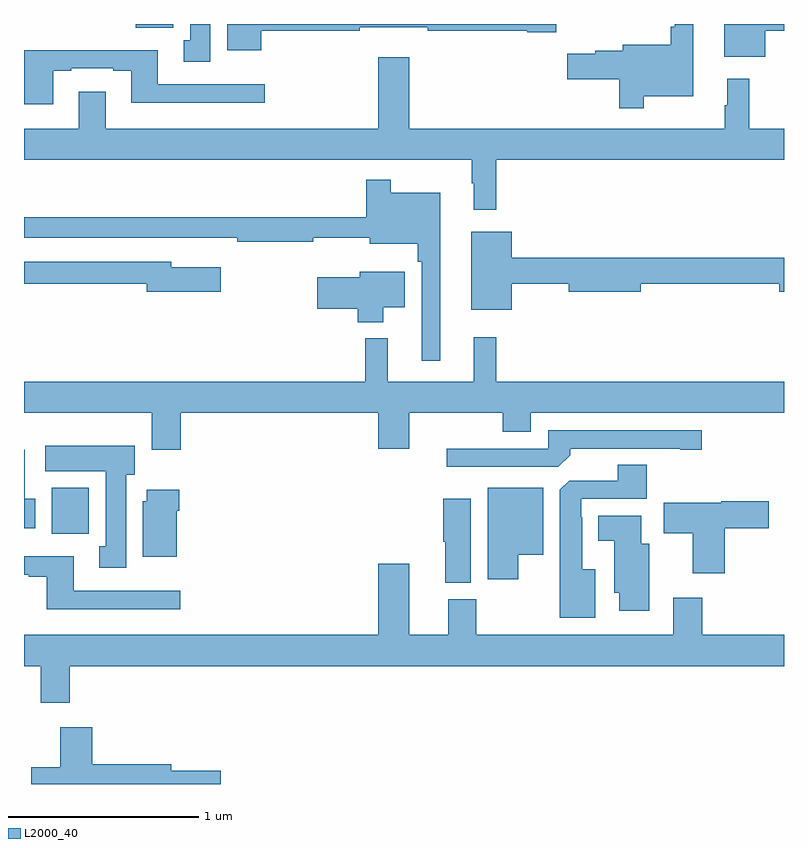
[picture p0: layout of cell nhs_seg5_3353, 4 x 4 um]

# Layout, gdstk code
import gdstk
lib = gdstk.Library(unit=1e-6, precision=1e-09)
def R(c, l, rs):  # rectangles x0, y0, x1, y1
    for r in rs: c.add(gdstk.rectangle(r[:2], r[2:], *l))
def P(c, l, *ps):  # polygons
    for p in ps: c.add(gdstk.Polygon(p, *l))
L2000_40 = (2000, 40)

nhs_seg5_3353 = lib.new_cell('nhs_seg5_3353')
R(nhs_seg5_3353, L2000_40, [(307.145,864.116,307.342,864.358), (307.589,866.78,307.786,866.799), (307.337,866.798,307.501,866.799)])
P(nhs_seg5_3353, L2000_40, [(310.261,866.42),(310.522,866.42),(310.522,866.799),(310.425,866.799),(310.425,866.785),(310.405,866.785),(310.405,866.689),(310.151,866.689),(310.151,866.659),(310.007,866.659),(310.007,866.642),(309.858,866.642),(309.858,866.507),(310.132,866.507),(310.132,866.355),(310.261,866.355)],
  [(307.981,866.799),(307.874,866.799),(307.874,866.714),(307.841,866.714),(307.841,866.601),(307.981,866.601)],
  [(310.9,866.764),(311,866.764),(311,866.799),(310.685,866.799),(310.685,866.627),(310.9,866.627)],
  [(308.248,866.764),(308.768,866.764),(308.768,866.783),(309.124,866.783),(309.124,866.764),(309.648,866.764),(309.648,866.756),(309.802,866.756),(309.802,866.799),(308.069,866.799),(308.069,866.66),(308.248,866.66)],
  [(307.153,866.553),(307.249,866.553),(307.249,866.565),(307.469,866.565),(307.469,866.553),(307.565,866.553),(307.565,866.384),(308.266,866.384),(308.266,866.481),(307.705,866.481),(307.705,866.662),(307.001,866.662),(307.001,866.376),(307.153,866.376)],
  [(309.485,866.084),(311,866.084),(311,866.248),(310.817,866.248),(310.817,866.512),(310.7,866.512),(310.7,866.372),(310.689,866.372),(310.689,866.248),(309.028,866.248),(309.028,866.623),(308.864,866.623),(308.864,866.248),(307.429,866.248),(307.429,866.443),(307.289,866.443),(307.289,866.248),(307,866.248),(307,866.084),(309.357,866.084),(309.357,865.961),(309.368,865.961),(309.368,865.821),(309.485,865.821)],
  [(309.19,865.912),(308.929,865.912),(308.929,865.978),(308.8,865.978),(308.8,865.783),(307,865.783),(307,865.674),(307.87,865.674),(307.87,865.673),(308.122,865.673),(308.122,865.654),(308.523,865.654),(308.523,865.673),(308.819,865.673),(308.819,865.643),(309.073,865.643),(309.073,865.547),(309.093,865.547),(309.093,865.026),(309.19,865.026)],
  [(309.568,865.432),(309.866,865.432),(309.866,865.39),(310.246,865.39),(310.246,865.432),(310.976,865.432),(310.976,865.39),(311,865.39),(311,865.568),(309.568,865.568),(309.568,865.705),(309.353,865.705),(309.353,865.295),(309.568,865.295)],
  [(308.035,865.519),(307.774,865.519),(307.774,865.548),(307,865.548),(307,865.432),(307.646,865.432),(307.646,865.39),(308.035,865.39)],
  [(308.89,865.307),(309.004,865.307),(309.004,865.495),(308.768,865.495),(308.768,865.465),(308.544,865.465),(308.544,865.3),(308.756,865.3),(308.756,865.229),(308.89,865.229)],
  [(309.028,864.752),(309.52,864.752),(309.52,864.653),(309.667,864.653),(309.667,864.752),(311,864.752),(311,864.916),(309.485,864.916),(309.485,865.15),(309.368,865.15),(309.368,864.916),(308.915,864.916),(308.915,865.144),(308.797,865.144),(308.797,864.916),(307,864.916),(307,864.752),(307.673,864.752),(307.673,864.558),(307.826,864.558),(307.826,864.752),(308.864,864.752),(308.864,864.564),(309.028,864.564)],
  [(309.875,864.53),(309.875,864.564),(310.454,864.564),(310.454,864.559),(310.567,864.559),(310.567,864.66),(309.759,864.66),(309.759,864.564),(309.225,864.564),(309.225,864.468),(309.813,864.468)],
  [(307.537,864.426),(307.582,864.426),(307.582,864.58),(307.113,864.58),(307.113,864.446),(307.43,864.446),(307.43,864.05),(307.397,864.05),(307.397,863.937),(307.537,863.937)],
  [(307.06,864.3),(307.003,864.3),(307.003,864.559),(307,864.559),(307,864.144),(307.06,864.144)],
  [(310.006,863.929),(309.937,863.929),(309.937,864.203),(309.933,864.203),(309.933,864.3),(310.277,864.3),(310.277,864.479),(310.124,864.479),(310.124,864.396),(309.87,864.396),(309.821,864.347),(309.821,863.675),(310.006,863.675)],
  [(309.601,864.005),(309.733,864.005),(309.733,864.358),(309.44,864.358),(309.44,863.877),(309.601,863.877)],
  [(307.804,864.236),(307.817,864.236),(307.817,864.349),(307.646,864.349),(307.646,864.288),(307.625,864.288),(307.625,863.996),(307.804,863.996)],
  [(309.352,864.301),(309.206,864.301),(309.206,864.075),(309.218,864.075),(309.218,863.857),(309.352,863.857)],
  [(310.688,864.146),(310.921,864.146),(310.921,864.288),(310.671,864.288),(310.671,864.28),(310.368,864.28),(310.368,864.118),(310.52,864.118),(310.52,863.907),(310.688,863.907)],
  [(310.291,864.064),(310.249,864.064),(310.249,864.211),(310.022,864.211),(310.022,864.08),(310.106,864.08),(310.106,863.805),(310.133,863.805),(310.133,863.712),(310.291,863.712)],
  [(307.822,863.817),(307.261,863.817),(307.261,863.998),(307,863.998),(307,863.901),(307.025,863.901),(307.025,863.889),(307.121,863.889),(307.121,863.72),(307.822,863.72)],
  [(307.241,863.42),(311,863.42),(311,863.584),(310.571,863.584),(310.571,863.779),(310.418,863.779),(310.418,863.584),(309.381,863.584),(309.381,863.772),(309.233,863.772),(309.233,863.584),(309.028,863.584),(309.028,863.959),(308.864,863.959),(308.864,863.584),(307,863.584),(307,863.42),(307.088,863.42),(307.088,863.226),(307.241,863.226)],
  [(308.035,862.868),(307.774,862.868),(307.774,862.904),(307.358,862.904),(307.358,863.098),(307.19,863.098),(307.19,862.887),(307.038,862.887),(307.038,862.799),(308.035,862.799)])

lib.write_gds('nhs_seg5_3353.gds')
